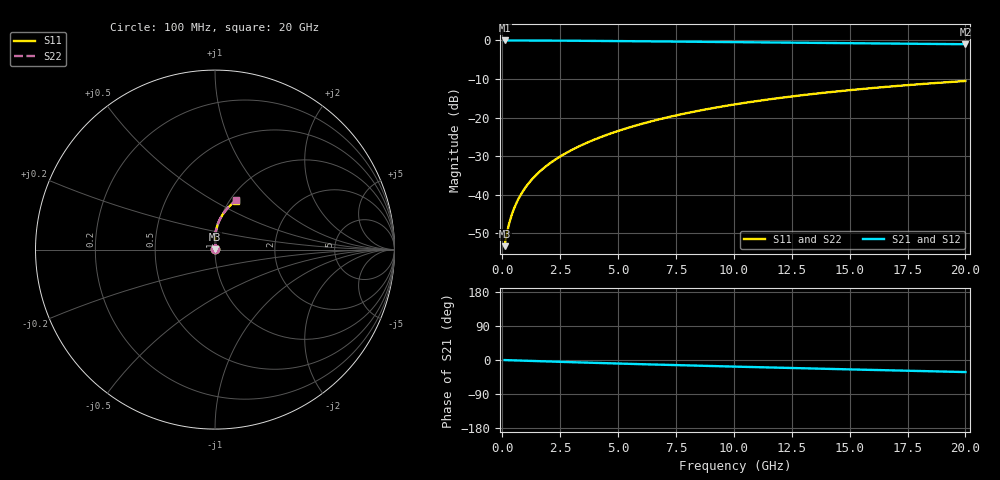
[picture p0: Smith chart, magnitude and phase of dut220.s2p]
! Touchstone file exported from HFSS 2024.1.0
!  File:  C:/UserFiles/LocalFiles/RDL_TSV_Batchsim/temp_RDL_top_220_1778687718.aedt
!  Generated:  11:57:24 PM May 13, 2026
!  Design:  RDL_top
!  Project:  temp_RDL_top_220_1778687718
!  Setup:  Setup1
!  Solution:  Sweep
! Variables:
!  dtsv = 10.80580581um
!  hbump = 3um
!  htsv = 59.34um
!  ldown = 100um
!  lrdl = 436.33um
!  p = 40
!  p1 = 56.69um
!  rhole = 1um
!  t = 450um
!  tdown = 3.915915916um
!  trdl = 3.99um
!  wdown = 15.38538539um
!  wrdl = 26.62um
# GHz S MA R 50.000000
! Terminal data exported
! Port[1] = Box2_T1
! Port[2] = Box2_T2
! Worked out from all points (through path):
!   200 points, 100 MHz to 20 GHz, reference 50 ohm
!   highest |S21| = -0.01 dB at 100 MHz (marker M1); lowest = -1.0 dB at 20 GHz (marker M2)
!   group delay of S21, straight-line fit = 4.35 ps
!   lowest |S11| = -53.3 dB at 100 MHz (marker M3), VSWR 1.00, Z = 50.2 + j0.137 ohm
!   |S11| at or under -10 dB: start of sweep to end of sweep
!   |S22| runs from -53.3 to -10.5 dB; largest |S21 - S12| = 4.2e-15
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0.1  0.00216 39.3  0.9983 -0.2  0.9983 -0.2  0.00216 39.3
! Gamma 0 0 0 0
! Port Impedance 50 0 50 0
0.2  0.003193 56.2  0.9982 -0.4  0.9982 -0.4  0.003193 56.2
0.3  0.004296 64.3  0.998 -0.6  0.998 -0.6  0.004296 64.3
0.4  0.005416 69.4  0.9979 -0.8  0.9979 -0.8  0.005416 69.4
0.5  0.006551 72.9  0.9977 -1.0  0.9977 -1.0  0.006551 72.9
0.6  0.007701 75.5  0.9976 -1.2  0.9976 -1.2  0.007701 75.5
0.8  0.01004 79.1  0.9973 -1.6  0.9973 -1.6  0.01004 79.1
1.1  0.01363 82.5  0.9968 -2.2  0.9968 -2.2  0.01363 82.5
1.5  0.01854 85.1  0.9958 -2.9  0.9958 -2.9  0.01854 85.1
2.1  0.02614 87.4  0.994 -4.1  0.994 -4.1  0.02614 87.4
2.7  0.03403 88.7  0.9917 -5.2  0.9917 -5.2  0.03403 88.7
3.5  0.04504 89.6  0.988 -6.7  0.988 -6.7  0.04504 89.6
4.2  0.05512 89.8  0.9844 -7.9  0.9844 -7.9  0.05512 89.8
5  0.06709 89.6  0.9799 -9.3  0.9799 -9.3  0.0671 89.6
5.9  0.08105 89.0  0.9746 -10.9  0.9746 -10.9  0.08106 89.0
6.8  0.09539 88.0  0.9692 -12.4  0.9692 -12.4  0.0954 88.0
8.4  0.1214 85.8  0.9596 -14.9  0.9596 -14.9  0.1214 85.8
10.1  0.1492 83.1  0.9495 -17.5  0.9495 -17.5  0.1493 83.1
11.7  0.1751 80.4  0.9402 -20.0  0.9402 -20.0  0.1752 80.4
13.4  0.2021 77.4  0.9304 -22.5  0.9304 -22.5  0.2021 77.5
16.7  0.252 71.9  0.9114 -27.2  0.9114 -27.2  0.2521 71.9
20  0.2981 66.6  0.8922 -31.8  0.8922 -31.8  0.2982 66.6
